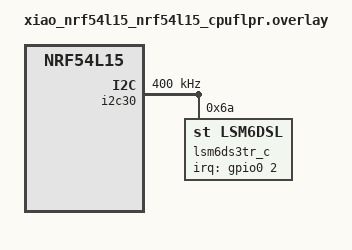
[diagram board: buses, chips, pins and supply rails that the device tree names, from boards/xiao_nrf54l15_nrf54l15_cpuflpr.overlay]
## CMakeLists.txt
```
cmake_minimum_required(VERSION 3.20.0)

find_package(Zephyr REQUIRED HINTS $ENV{ZEPHYR_BASE})
project(SnailScaleFLPR)

target_sources(app PRIVATE src/main.c)
```

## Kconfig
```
mainmenu "FLPR App"

source "Kconfig.zephyr"

config MOTION_IPC_STRESS_TEST
	bool "Blast messages for stress testing"
	default n
```

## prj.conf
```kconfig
CONFIG_LOG=y
CONFIG_USE_SEGGER_RTT=n
CONFIG_LOG_BACKEND_IPC_SERVICE=y
CONFIG_IPC_SERVICE=y
CONFIG_MBOX=y
CONFIG_BOOT_BANNER=n
CONFIG_IPC_SERVICE_BACKEND_ICMSG_ME_FOLLOWER=y

# Set to y to blast messages for stress testing
CONFIG_MOTION_IPC_STRESS_TEST=n

# I2C and Sensor subsystem
CONFIG_I2C=y
CONFIG_SENSOR=y
CONFIG_GPIO=y
CONFIG_LSM6DSL=y
CONFIG_LSM6DSL_TRIGGER_GLOBAL_THREAD=y
```

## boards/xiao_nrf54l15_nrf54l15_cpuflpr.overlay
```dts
&cpuflpr_rram {
    ranges;
    partitions {
        ranges;
    };
};


/ {
    chosen {
        zephyr,log-ipc = &ipc0;
    };

    soc {
        /delete-node/ memory@2002f000;
        cpuflpr_sram: memory@20028000 {
            compatible = "mmio-sram";
            reg = <0x20028000 0x18000>;
        };
    };

    reserved-memory {
        #address-cells = <1>;
        #size-cells = <1>;
        ranges;

        sram_tx: memory@20020000 {
            reg = <0x20020000 0x0800>;
        };

        sram_rx: memory@20018000 {
            reg = <0x20018000 0x0800>;
        };
    };

    ipc {
        ipc0: ipc0 {
            compatible = "zephyr,ipc-icmsg-me-follower";
            dcache-alignment = <32>;
            tx-region = <&sram_tx>;
            rx-region = <&sram_rx>;
            mboxes = <&cpuflpr_vevif_tx 20>, <&cpuflpr_vevif_rx 21>;
            mbox-names = "tx", "rx";
            status = "okay";
        };
    };
};

/* properly enable VEVIF for coprocessor transmission */
&cpuflpr_vevif_tx {
    status = "okay";
};

/* enable rx vevif for coprocessor receiving */
&cpuflpr_vevif_rx {
    status = "okay";
};

/* enable I2C bus and IMU exclusively for FLPR */
&i2c30 {
    compatible = "nordic,nrf-twim";
    status = "okay";
    pinctrl-0 = <&i2c30_default>;
    pinctrl-1 = <&i2c30_sleep>;
    pinctrl-names = "default", "sleep";
    clock-frequency = <I2C_BITRATE_FAST>;

    lsm6ds3tr_c: lsm6ds3tr-c@6a {
        compatible = "st,lsm6dsl";
        reg = <0x6a>;
        irq-gpios = <&gpio0 2 GPIO_ACTIVE_HIGH>;
        status = "okay";
    };
};
```

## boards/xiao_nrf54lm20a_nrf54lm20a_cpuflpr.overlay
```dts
/ {
    chosen {
        zephyr,log-ipc = &ipc0;
    };

    soc {
        /delete-node/ memory@20067c00;
        cpuflpr_sram: memory@20070000 {
            compatible = "mmio-sram";
            reg = <0x20070000 64512>;
        };
    };

    reserved-memory {
        #address-cells = <1>;
        #size-cells = <1>;
        ranges;

        sram_tx: memory@20068000 {
            reg = <0x20068000 0x0800>;
        };

        sram_rx: memory@20060000 {
            reg = <0x20060000 0x0800>;
        };
    };

    ipc {
        ipc0: ipc0 {
            compatible = "zephyr,ipc-icmsg-me-follower";
            dcache-alignment = <32>;
            tx-region = <&sram_tx>;
            rx-region = <&sram_rx>;
            mboxes = <&cpuflpr_vevif_tx 20>, <&cpuflpr_vevif_rx 21>;
            mbox-names = "tx", "rx";
            status = "okay";
        };
    };
};

&cpuflpr_vevif_tx {
    status = "okay";
};

&cpuflpr_vevif_rx {
    status = "okay";
};

&i2c30 {
    compatible = "nordic,nrf-twim";
    status = "okay";

    lsm6ds3tr_c: lsm6ds3tr-c@6a {
        compatible = "st,lsm6dsl";
        reg = <0x6a>;
        irq-gpios = <&gpio0 6 GPIO_ACTIVE_HIGH>;
        status = "okay";
    };
};

/ {
    /delete-node/ pmic-i2c;
};
```

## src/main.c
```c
#include <zephyr/kernel.h>
#include <zephyr/ipc/ipc_service.h>
#include <zephyr/logging/log.h>
#include <zephyr/drivers/sensor.h>
#include <zephyr/drivers/i2c.h>

LOG_MODULE_REGISTER(flpr_main, LOG_LEVEL_INF);

#define TARE_REQUEST 0x01
#define STILLNESS_REQUEST 0x02
#define STILLNESS_CONFIRMED 0x03
#define SLEEP_REQUEST 0x04
#define WAKE_REQUEST 0x05
#define FAST_STILLNESS_REQUEST 0x06

static const struct i2c_dt_spec imu_i2c = I2C_DT_SPEC_GET(DT_NODELABEL(lsm6ds3tr_c));

#define FIFO_WATERMARK 30 // 30 words = 10 samples X, Y, Z
static int16_t fifo_buf[FIFO_WATERMARK];

#define SHAKE_WINDOW_SAMPLES 20
#define VARIANCE_THRESHOLD 4000000
#define ZCR_MIN 4
#define ZCR_MARGIN 1500

// variance below this means the scale is not moving
#define STILLNESS_THRESHOLD 500000
#define STILLNESS_REQUIRED_READS 1

struct vec3 {
    int16_t x, y, z;
};
static struct vec3 history[SHAKE_WINDOW_SAMPLES];
static size_t history_idx = 0;
static size_t history_count = 0;

// stillness detection state
static volatile bool awaiting_stillness;
static volatile bool is_currently_still;
static int64_t last_motion_time;
static volatile bool is_asleep = false;
static int still_count;
static struct ipc_ept ep;

static bool detect_shake_gesture(int16_t *buffer, size_t num_samples) {
    bool triggered = false;

    for (size_t i = 0; i < num_samples; i++) {
        history[history_idx].x = buffer[i * 3 + 0];
        history[history_idx].y = buffer[i * 3 + 1];
        history[history_idx].z = buffer[i * 3 + 2];
        
        history_idx = (history_idx + 1) % SHAKE_WINDOW_SAMPLES;
        if (history_count < SHAKE_WINDOW_SAMPLES) {
            history_count++;
        }
    }

    if (history_count < SHAKE_WINDOW_SAMPLES) {
        return false;
    }

    int64_t sum_x = 0, sum_y = 0, sum_z = 0;
    for (size_t i = 0; i < SHAKE_WINDOW_SAMPLES; i++) {
        sum_x += history[i].x;
        sum_y += history[i].y;
        sum_z += history[i].z;
    }
    int32_t mean_x = (int32_t)(sum_x / SHAKE_WINDOW_SAMPLES);
    int32_t mean_y = (int32_t)(sum_y / SHAKE_WINDOW_SAMPLES);
    int32_t mean_z = (int32_t)(sum_z / SHAKE_WINDOW_SAMPLES);

    int64_t var_sum = 0;
    for (size_t i = 0; i < SHAKE_WINDOW_SAMPLES; i++) {
        int32_t dx = history[i].x - mean_x;
        int32_t dy = history[i].y - mean_y;
        int32_t dz = history[i].z - mean_z;
        var_sum += (int64_t)(dx * dx) + (int64_t)(dy * dy) + (int64_t)(dz * dz);
    }
    int32_t variance = (int32_t)(var_sum / SHAKE_WINDOW_SAMPLES);

    int max_zcr = 0;
    int32_t means[3] = {mean_x, mean_y, mean_z};
    
    for (int axis = 0; axis < 3; axis++) {
        int zcr = 0;
        int16_t initial_val = (axis == 0) ? history[history_idx].x : ((axis == 1) ? history[history_idx].y : history[history_idx].z);
        bool is_high = (initial_val > means[axis]);
        
        for (size_t i = 1; i < SHAKE_WINDOW_SAMPLES; i++) {
            size_t idx = (history_idx + i) % SHAKE_WINDOW_SAMPLES;
            int16_t val = (axis == 0) ? history[idx].x : ((axis == 1) ? history[idx].y : history[idx].z);
            
            if (is_high && val < means[axis] - ZCR_MARGIN) {
                zcr++;
                is_high = false;
            } else if (!is_high && val > means[axis] + ZCR_MARGIN) {
                zcr++;
                is_high = true;
            }
        }
        if (zcr > max_zcr) max_zcr = zcr;
    }

    if (variance > VARIANCE_THRESHOLD && max_zcr >= ZCR_MIN) {
        LOG_INF("Shake detected! (var: %d, max_zcr: %d)", variance, max_zcr);
        history_count = 0; // reset to avoid double trigger
        triggered = true;
    }

    return triggered;
}

static K_SEM_DEFINE(shake_sem, 0, 1);

// restore imu fifo mode
static void restore_fifo_mode(void)
{
    // clear wake up and int sources to release int1
    uint8_t wake_src;
    uint8_t status_reg;
    i2c_reg_read_byte_dt(&imu_i2c, 0x1B, &wake_src);
    i2c_reg_read_byte_dt(&imu_i2c, 0x1E, &status_reg);
    i2c_reg_read_byte_dt(&imu_i2c, 0x1A, &status_reg);

    // disable wake on int1 and disable slope
    i2c_reg_write_byte_dt(&imu_i2c, 0x5E, 0x00);
    i2c_reg_write_byte_dt(&imu_i2c, 0x58, 0x00);

    // flush fifo in bypass mode then restart continuous
    i2c_reg_write_byte_dt(&imu_i2c, 0x0A, 0x00);
    i2c_reg_write_byte_dt(&imu_i2c, 0x06, FIFO_WATERMARK);
    i2c_reg_write_byte_dt(&imu_i2c, 0x0A, 0x0E);
    i2c_reg_write_byte_dt(&imu_i2c, 0x0D, 0x08);

    is_asleep = false;
    history_count = 0;
    history_idx = 0;
    is_currently_still = false;
    last_motion_time = k_uptime_get();
}

static void imu_trigger_handler(const struct device *dev, const struct sensor_trigger *trig) {
    if (is_asleep) {
        uint8_t msg = WAKE_REQUEST;
        ipc_service_send(&ep, &msg, sizeof(msg));
        LOG_INF("Motion detected! Sent WAKE_REQUEST to CPUAPP");
        
        restore_fifo_mode();
        return;
    }

    while (1) {
        uint8_t status1, status2;
        i2c_reg_read_byte_dt(&imu_i2c, 0x3A, &status1);
        i2c_reg_read_byte_dt(&imu_i2c, 0x3B, &status2);
        
        uint16_t num_words = status1 | ((status2 & 0x07) << 8);
        
        if (num_words < FIFO_WATERMARK) {
            break;
        }

        // burst read from fifo data out
        int ret = i2c_burst_read_dt(&imu_i2c, 0x3E, (uint8_t*)fifo_buf, FIFO_WATERMARK * 2);
        if (ret != 0) {
            LOG_ERR("FIFO burst read failed: %d", ret);
            return;
        }

        size_t num_samples = FIFO_WATERMARK / 3;

        // calculate batch variance
        int64_t sx = 0, sy = 0, sz = 0;
        for (size_t i = 0; i < num_samples; i++) {
            sx += fifo_buf[i * 3 + 0];
            sy += fifo_buf[i * 3 + 1];
            sz += fifo_buf[i * 3 + 2];
        }
        int32_t mx = (int32_t)(sx / num_samples);
        int32_t my = (int32_t)(sy / num_samples);
        int32_t mz = (int32_t)(sz / num_samples);

        int64_t var = 0;
        for (size_t i = 0; i < num_samples; i++) {
            int32_t dx = fifo_buf[i * 3 + 0] - mx;
            int32_t dy = fifo_buf[i * 3 + 1] - my;
            int32_t dz = fifo_buf[i * 3 + 2] - mz;
            var += (int64_t)(dx * dx) + (int64_t)(dy * dy) + (int64_t)(dz * dz);
        }
        var /= num_samples;

        if (var < STILLNESS_THRESHOLD) {
            is_currently_still = true;
        } else {
            is_currently_still = false;
            last_motion_time = k_uptime_get();
        }

        if (awaiting_stillness) {
            if (var < STILLNESS_THRESHOLD) {
                still_count++;
                LOG_INF("Still read %d/%d (var: %lld)", still_count, STILLNESS_REQUIRED_READS, var);
                if (still_count >= STILLNESS_REQUIRED_READS) {
                    LOG_INF("Stillness confirmed");
                    awaiting_stillness = false;
                    still_count = 0;
                    uint8_t msg = STILLNESS_CONFIRMED;
                    ipc_service_send(&ep, &msg, sizeof(msg));
                }
            } else {
                still_count = 0;
            }
        } else {
            // normal shake detection
            if (detect_shake_gesture(fifo_buf, num_samples)) {
                is_currently_still = false;
                last_motion_time = k_uptime_get();
                k_sem_give(&shake_sem);
            }
        }
    }
}

static K_SEM_DEFINE(ep_bound, 0, 1);

static void ep_bound_cb(void *priv) {
    k_sem_give(&ep_bound);
}

static bool check_fifo_stillness_now(void)
{
    uint8_t status1, status2;
    if (i2c_reg_read_byte_dt(&imu_i2c, 0x3A, &status1) != 0 ||
        i2c_reg_read_byte_dt(&imu_i2c, 0x3B, &status2) != 0) {
        return false;
    }

    uint16_t num_words = status1 | ((status2 & 0x07) << 8);
    size_t num_samples = num_words / 3;

    if (num_samples < 2) {
        return false;
    }

    if (num_samples > (FIFO_WATERMARK / 3)) {
        num_samples = FIFO_WATERMARK / 3;
    }

    int ret = i2c_burst_read_dt(&imu_i2c, 0x3E, (uint8_t*)fifo_buf, num_samples * 3 * 2);
    if (ret != 0) {
        return false;
    }

    // feed history for shake detection so samples are preserved
    for (size_t i = 0; i < num_samples; i++) {
        history[history_idx].x = fifo_buf[i * 3 + 0];
        history[history_idx].y = fifo_buf[i * 3 + 1];
        history[history_idx].z = fifo_buf[i * 3 + 2];
        history_idx = (history_idx + 1) % SHAKE_WINDOW_SAMPLES;
        if (history_count < SHAKE_WINDOW_SAMPLES) {
            history_count++;
        }
    }

    int64_t sx = 0, sy = 0, sz = 0;
    for (size_t i = 0; i < num_samples; i++) {
        sx += fifo_buf[i * 3 + 0];
        sy += fifo_buf[i * 3 + 1];
        sz += fifo_buf[i * 3 + 2];
    }
    int32_t mx = (int32_t)(sx / num_samples);
    int32_t my = (int32_t)(sy / num_samples);
    int32_t mz = (int32_t)(sz / num_samples);

    int64_t var = 0;
    for (size_t i = 0; i < num_samples; i++) {
        int32_t dx = fifo_buf[i * 3 + 0] - mx;
        int32_t dy = fifo_buf[i * 3 + 1] - my;
        int32_t dz = fifo_buf[i * 3 + 2] - mz;
        var += (int64_t)(dx * dx) + (int64_t)(dy * dy) + (int64_t)(dz * dz);
    }
    var /= num_samples;

    if (var < STILLNESS_THRESHOLD) {
        is_currently_still = true;
        return true;
    }

    is_currently_still = false;
    last_motion_time = k_uptime_get();
    return false;
}

static void ep_recv_cb(const void *data, size_t len, void *priv) {
    if (len < 1) return;
    uint8_t msg = ((const uint8_t *)data)[0];

    if (msg == STILLNESS_REQUEST) {
        LOG_INF("Stillness check requested by cpuapp");
        if (is_asleep) {
            restore_fifo_mode();
        }
        still_count = 0;
        awaiting_stillness = true;
    } else if (msg == FAST_STILLNESS_REQUEST) {
        LOG_INF("Fast stillness check requested by cpuapp");
        if (is_asleep) {
            restore_fifo_mode();
        }
        if (is_currently_still || check_fifo_stillness_now()) {
            LOG_INF("Immediate stillness confirmed");
            awaiting_stillness = false;
            still_count = 0;
            uint8_t resp = STILLNESS_CONFIRMED;
            ipc_service_send(&ep, &resp, sizeof(resp));
        } else {
            still_count = 0;
            awaiting_stillness = true;
        }
    } else if (msg == WAKE_REQUEST) {
        LOG_INF("Wake requested by cpuapp");
        if (is_asleep) {
            restore_fifo_mode();
        }
    } else if (msg == SLEEP_REQUEST) {
        LOG_INF("Sleep requested by cpuapp");
        is_asleep = true;
        
        // reconfigure IMU for Wake-on-Motion (slope/any-motion)
        i2c_reg_write_byte_dt(&imu_i2c, 0x0D, 0x00); // INT1_CTRL (disable FTH on INT1)
        i2c_reg_write_byte_dt(&imu_i2c, 0x0A, 0x00); // FIFO_CTRL5 (disable FIFO)
        
        // configure wake-up
        i2c_reg_write_byte_dt(&imu_i2c, 0x58, 0x90); // TAP_CFG (Enable interrupts and slope)
        i2c_reg_write_byte_dt(&imu_i2c, 0x5B, 0x02); // WAKE_UP_THS (threshold for wake up)
        i2c_reg_write_byte_dt(&imu_i2c, 0x5C, 0x00); // WAKE_UP_DUR (no duration required)
        i2c_reg_write_byte_dt(&imu_i2c, 0x5E, 0x20); // MD1_CFG (Route wake-up to INT1)
        
        LOG_INF("IMU configured for Wake-on-Motion");
    }
}

static struct ipc_ept_cfg ep_cfg = {
    .name = "motion_ipc",
    .cb = {
        .bound    = ep_bound_cb,
        .received = ep_recv_cb,
    },
};

int main(void)
{
    const struct device *ipc = DEVICE_DT_GET(DT_NODELABEL(ipc0));

    int ret = ipc_service_open_instance(ipc);
    if (ret < 0 && ret != -EALREADY) {
        LOG_ERR("ipc open failed %d", ret);
        return ret;
    }

    ret = ipc_service_register_endpoint(ipc, &ep, &ep_cfg);
    if (ret < 0) {
        LOG_ERR("ep register failed %d", ret);
        return ret;
    }

    // wait for cpuapp to bind
    k_sem_take(&ep_bound, K_FOREVER);
    LOG_INF("tare endpoint bound");

    if (!i2c_is_ready_dt(&imu_i2c)) {
        LOG_ERR("imu I2C bus not ready");
    }

    const struct device *imu_dev = DEVICE_DT_GET(DT_NODELABEL(lsm6ds3tr_c));
    if (!device_is_ready(imu_dev)) {
        LOG_ERR("imu not ready");
    } else {
        struct sensor_trigger trig = {
            .type = SENSOR_TRIG_DATA_READY,
            .chan = SENSOR_CHAN_ACCEL_XYZ,
        };
        
        // wake up the imu and set odr to 12.5hz so it generates interrupts
        struct sensor_value odr = { .val1 = 12, .val2 = 500000 };
        if (sensor_attr_set(imu_dev, SENSOR_CHAN_ACCEL_XYZ, SENSOR_ATTR_SAMPLING_FREQUENCY, &odr) < 0) {
            LOG_ERR("failed to set imu odr");
        }

        if (sensor_trigger_set(imu_dev, &trig, imu_trigger_handler) < 0) {
            LOG_ERR("failed to set imu trigger");
        } else {
            LOG_INF("imu trigger configured");
            
            // initialize fifo decimation
            i2c_reg_write_byte_dt(&imu_i2c, 0x07, 0x00);
            i2c_reg_write_byte_dt(&imu_i2c, 0x08, 0x01);
            i2c_reg_write_byte_dt(&imu_i2c, 0x09, 0x00);

            // restore clean fifo mode
            restore_fifo_mode();
            LOG_INF("imu FIFO activated");
        }
    }

    while (1) {
        k_sem_take(&shake_sem, K_FOREVER);
        
        uint8_t msg = TARE_REQUEST;
        int err = ipc_service_send(&ep, &msg, sizeof(msg));
        if (err < 0) {
            LOG_ERR("ipc send failed: %d", err);
        } else {
            LOG_INF("Sent TARE_REQUEST to CPUAPP");
        }
    }
    return 0;
}
```
